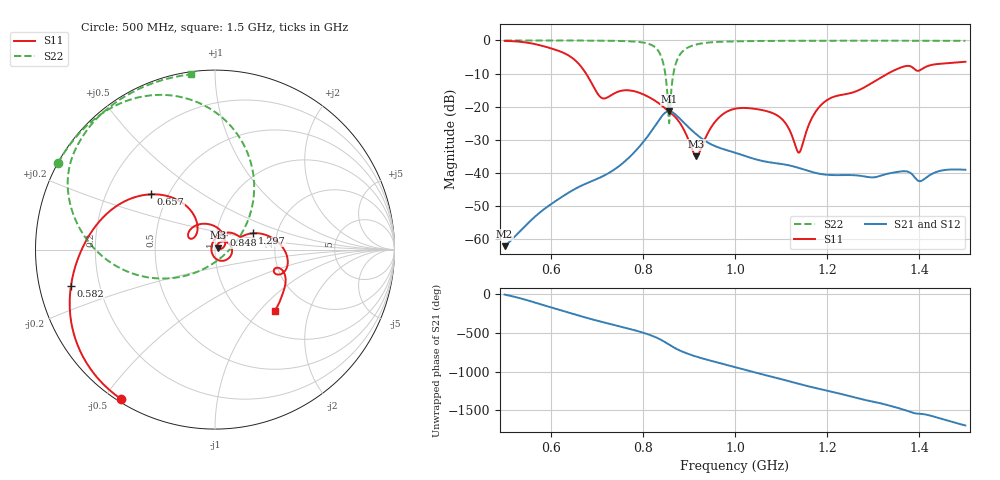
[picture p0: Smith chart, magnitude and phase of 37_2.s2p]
! TOUCHSTONE file generated by CST MICROWAVE STUDIO
! Date and time: Wed Oct 28 19:40:24 2020
! Project name: Scenario_1_Circular_Tissue_out_of_Line_v2.cst
! Parameters = {dy1=276.8; L_HA=400; MT=2.54; Rad_Dielectric=30; Rad_Lower=7.3; Rad_Upper=30; a_HA=580; a_WG=246; b_HA=500; b_WG=121; c_HA=0; c_WG=187; d_feed=85; dx1=346; h_feed=15; h_lower=18; h_upper=40}
! Header version: 2018
! Port assignment regex: !\s*Touchstone port\s*([0-9]+)\s*=\s*(CST MWS port|CST DS port)\s*([0-9]+|Zmin|Zmax)\s*\(\"(.*)\"\)(\s*mode\s*([0-9]+))?.*
! Touchstone port assignment:
! Touchstone port 1 = CST MWS port 1 ("")
! Touchstone port 2 = CST MWS port 2 ("")
# GHz S DB R 50
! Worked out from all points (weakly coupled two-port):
!   1003 points, 500 MHz to 1.5 GHz, reference 50 ohm
!   highest |S21| = -21.38 dB at 857 MHz (marker M1); lowest = -62.1 dB at 500 MHz (marker M2)
!   lowest |S11| = -35.0 dB at 916 MHz (marker M3), VSWR 1.04, Z = 51.5 + j1.03 ohm
!   |S11| at or under -10 dB: 676.7 MHz to 1.332 GHz (655.1 MHz wide, 65.2 % of centre)
!   |S22| runs from -25.0 to 0.0 dB; largest |S21 - S12| = 1.1e-05
!   S11 on the Smith chart (normalised r, x): 500 MHz: 0.01, -0.55; 582 MHz: 0.10, -0.12; 657 MHz: 0.40, +0.32; 848 MHz: 1.08, +0.18; 1.297 GHz: 1.50, +0.29; 1.5 GHz: 1.37, -1.21
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0.5  -0.15 -122.3  -62.13 -6.4  -62.13 -6.4  -0.01 151.1
0.582  -1.65 -166.0  -51.35 -138.8  -51.35 -138.8  -0.02 145.4
0.657  -6.51 139.3  -44.53 89.2  -44.53 89.2  -0.04 139.3
0.667  -8.08 131.2  -43.84 71.7  -43.84 71.7  -0.04 138.3
0.711  -17.39 139.6  -41.15 0.5  -41.15 0.5  -0.08 133.5
0.79  -15.69 120.2  -32.47 -119.9  -32.47 -119.9  -0.44 116.9
0.834  -18.91 76.2  -24.24 145.7  -24.24 145.7  -3.24 82.2
0.848  -20.46 60.3  -21.88 100.0  -21.88 100.0  -9.44 51.2
0.857  -21.58 50.8  -21.38 66.5  -21.38 66.5  -25.01 -45.3
0.867  -22.67 39.0  -21.94 31.0  -21.94 31.0  -9.55 -151.0
0.876  -24.06 26.9  -23.03 3.1  -23.03 3.1  -5.39 -168.9
0.916  -35.00 34.0  -28.34 -87.7  -28.34 -87.7  -1.22 159.8
0.958  -24.37 48.3  -31.99 -157.0  -31.99 -157.0  -0.47 147.2
1  -20.62 6.5  -33.90 135.8  -33.90 135.8  -0.28 140.2
1.093  -22.77 -59.5  -37.15 -7.2  -37.15 -7.2  -0.13 130.3
1.138  -33.87 -172.0  -38.49 -79.2  -38.49 -79.2  -0.11 126.5
1.167  -23.41 83.9  -39.73 -122.2  -39.73 -122.2  -0.10 124.2
1.202  -17.81 46.9  -40.59 -170.1  -40.59 -170.1  -0.09 121.5
1.297  -12.83 23.5  -41.36 53.4  -41.37 53.5  -0.08 114.3
1.334  -9.84 12.1  -40.17 2.0  -40.17 2.0  -0.09 111.4
1.402  -8.95 -16.5  -42.51 -105.8  -42.51 -105.8  -0.10 106.1
1.5  -6.44 -45.9  -39.05 103.7  -39.05 103.7  -0.13 97.9
